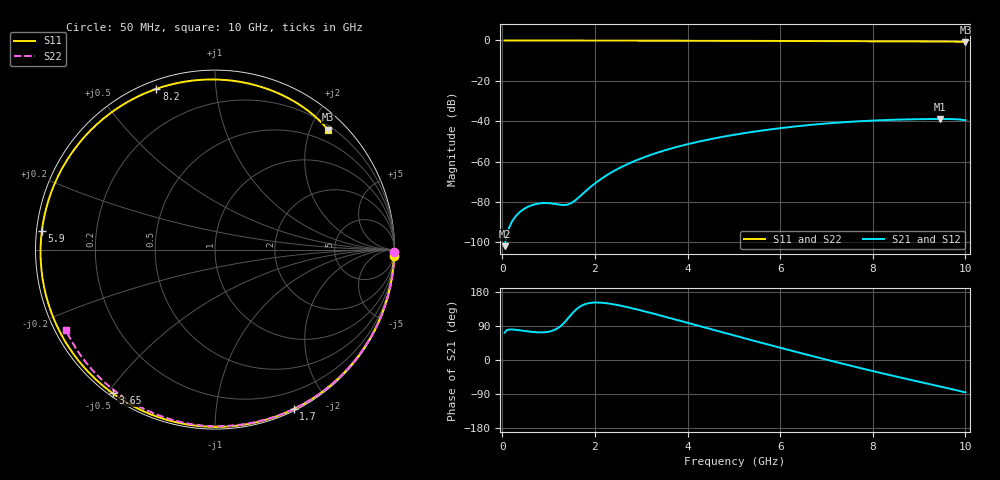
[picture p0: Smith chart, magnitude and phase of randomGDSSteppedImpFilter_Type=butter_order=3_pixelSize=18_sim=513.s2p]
! freq	dB(S11)	phase(S11)	dB(S12)	phase(S12)
!  dB(S21)	phase(S21)	dB(S22)	phase(S22)
!S-par simulation data
#  GHz  S  DB  R 50
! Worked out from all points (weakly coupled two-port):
!   200 points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, 50 MHz to 10 GHz, reference 50 ohm
!   highest |S21| = -38.92 dB at 9.45 GHz (marker M1); lowest = -101.9 dB at 50 MHz (marker M2)
!   lowest |S11| = -0.7 dB at 10 GHz (marker M3), VSWR 23.44, Z = 13.5 + j115 ohm
!   |S11| at or under -10 dB: nowhere
!   |S22| runs from -0.5 to 0.0 dB; largest |S21 - S12| = 0
!   S11 on the Smith chart (normalised r, x): 50 MHz: 4, -58; 1.7 GHz: 0.02, -1.61; 3.65 GHz: 0.01, -0.52; 5.9 GHz: 0.02, +0.05; 8.2 GHz: 0.04, +0.70; 10 GHz: 0.27, +2.29
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0.05  -0.02 -2.0  -101.94 72.0  -101.94 72.0  -0.00 -0.9
0.7  -0.04 -27.1  -81.21 73.5  -81.21 73.5  -0.02 -12.1
1.1  -0.05 -42.1  -80.87 78.1  -80.87 78.1  -0.02 -19.0
1.5  -0.07 -56.7  -80.43 121.5  -80.43 121.5  -0.03 -25.8
1.7  -0.08 -63.8  -76.76 142.5  -76.76 142.5  -0.04 -29.2
1.75  -0.08 -65.5  -75.72 145.5  -75.72 145.5  -0.04 -30.1
2.1  -0.09 -77.5  -69.16 151.5  -69.16 151.5  -0.05 -35.9
2.45  -0.11 -89.0  -64.19 145.9  -64.19 145.9  -0.05 -41.7
2.9  -0.12 -103.2  -59.34 133.7  -59.34 133.7  -0.06 -49.1
3.4  -0.14 -118.2  -55.24 117.9  -55.24 117.9  -0.08 -57.1
3.65  -0.15 -125.5  -53.53 109.7  -53.53 109.7  -0.08 -61.0
4.35  -0.18 -145.0  -49.60 86.4  -49.60 86.4  -0.10 -71.8
5.05  -0.21 -163.8  -46.58 63.2  -46.58 63.2  -0.13 -82.3
5.9  -0.26 173.8  -43.76 35.6  -43.76 35.6  -0.15 -94.6
6.7  -0.31 152.5  -41.76 10.2  -41.76 10.2  -0.21 -106.0
7.45  -0.36 131.8  -40.41 -12.9  -40.41 -12.9  -0.26 -116.3
8.2  -0.42 110.0  -39.51 -35.1  -39.51 -35.1  -0.32 -126.5
8.35  -0.43 105.5  -39.39 -39.3  -39.39 -39.3  -0.33 -128.5
8.9  -0.47 88.2  -39.06 -54.6  -39.06 -54.6  -0.38 -136.1
9.45  -0.53 69.5  -38.92 -69.4  -38.92 -69.4  -0.44 -143.7
9.75  -0.60 57.9  -39.01 -78.1  -39.01 -78.1  -0.47 -148.0
10  -0.74 46.7  -39.57 -85.3  -39.57 -85.3  -0.51 -151.6
